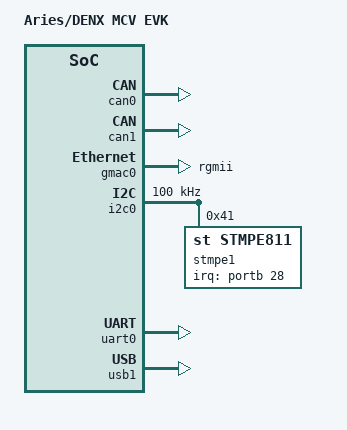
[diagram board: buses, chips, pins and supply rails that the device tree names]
// SPDX-License-Identifier: GPL-2.0+
/*
 * Copyright (C) 2015 Marek Vasut <marex@denx.de>
 */

#include "socfpga_cyclone5_mcv.dtsi"

/ {
	model = "Aries/DENX MCV EVK";
	compatible = "denx,mcvevk", "altr,socfpga-cyclone5", "altr,socfpga";

	aliases {
		ethernet0 = &gmac0;
		stmpe-i2c0 = &stmpe1;
	};

	chosen {
		stdout-path = "serial0:115200n8";
	};
};

&can0 {
	status = "okay";
};

&can1 {
	status = "okay";
};

&gmac0 {
	phy-mode = "rgmii";
	status = "okay";
};

&gpio0 {	/* GPIO  0 ... 28 */
	status = "okay";
};

&gpio1 {	/* GPIO 29 ... 57 */
	status = "okay";
};

&gpio2 {	/* GPIO 58..66 (HLGPI 0..13 at offset 13) */
	status = "okay";
};

&i2c0 {
	status = "okay";
	clock-frequency = <100000>;

	stmpe1: stmpe811@41 {
		compatible = "st,stmpe811";
		#address-cells = <1>;
		#size-cells = <0>;
		reg = <0x41>;
		id = <0>;
		blocks = <0x5>;
		irq-gpio = <&portb 28 0x4>;     /* GPIO 57, trig. level HI */

		stmpe_touchscreen {
			compatible = "st,stmpe-ts";
			ts,sample-time = <4>;
			ts,mod-12b = <1>;
			ts,ref-sel = <0>;
			ts,adc-freq = <1>;
			ts,ave-ctrl = <1>;
			ts,touch-det-delay = <3>;
			ts,settling = <4>;
			ts,fraction-z = <7>;
			ts,i-drive = <1>;
		};
	};
};

&uart0 {
	status = "okay";
};

&usb1 {
	status = "okay";
};
